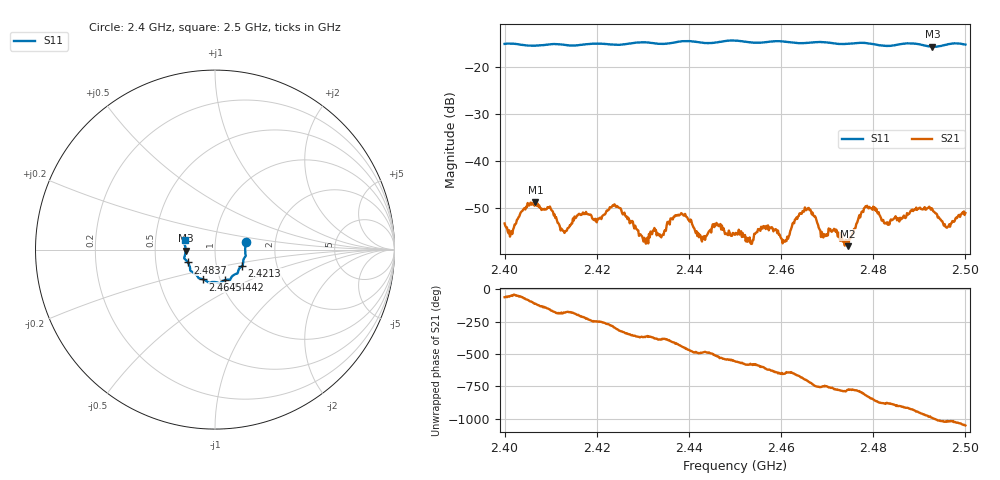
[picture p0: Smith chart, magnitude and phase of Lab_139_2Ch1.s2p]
# Hz S RI R 50
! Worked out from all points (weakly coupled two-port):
!   601 points, 2.4 GHz to 2.5 GHz, reference 50 ohm
!   highest |S21| = -48.75 dB at 2.4067 GHz (marker M1); lowest = -58.0 dB at 2.4745 GHz (marker M2)
!   lowest |S11| = -15.7 dB at 2.4928 GHz (marker M3), VSWR 1.39, Z = 36 - j0.375 ohm
!   |S11| at or under -10 dB: start of sweep to end of sweep
!   S12 and S22 are empty: the file has one direction only
!   S11 on the Smith chart (normalised r, x): 2.4 GHz: 1.41, +0.12; 2.4213 GHz: 1.33, -0.25; 2.4442 GHz: 1.05, -0.37; 2.4645 GHz: 0.83, -0.29; 2.4837 GHz: 0.73, -0.11; 2.5 GHz: 0.71, +0.07
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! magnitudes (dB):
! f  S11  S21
! 2.4 GHz  -15.1  -53.2
! 2.4067 GHz  -15.5  -48.8
! 2.4127 GHz  -15.3  -54.8
! 2.4167 GHz  -15.3  -51.4
! 2.4213 GHz  -15.1  -51.5
! 2.424 GHz  -15.3  -49.4
! 2.4303 GHz  -14.8  -56.3
! 2.4333 GHz  -15.1  -55.5
! 2.4382 GHz  -14.6  -51.3
! 2.4442 GHz  -15.0  -55.2
! 2.45 GHz  -14.4  -55.6
! 2.4607 GHz  -14.6  -57.1
! 2.4645 GHz  -15.0  -51.1
! 2.4667 GHz  -14.8  -51.3
! 2.4692 GHz  -14.7  -56.2
! 2.4745 GHz  -15.1  -58.0
! 2.4785 GHz  -14.9  -49.7
! 2.4833 GHz  -15.6  -53.1
! 2.4837 GHz  -15.5  -52.7
! 2.4928 GHz  -15.7  -50.2
! 2.4962 GHz  -15.2  -53.9
! 2.5 GHz  -15.3  -51.0
